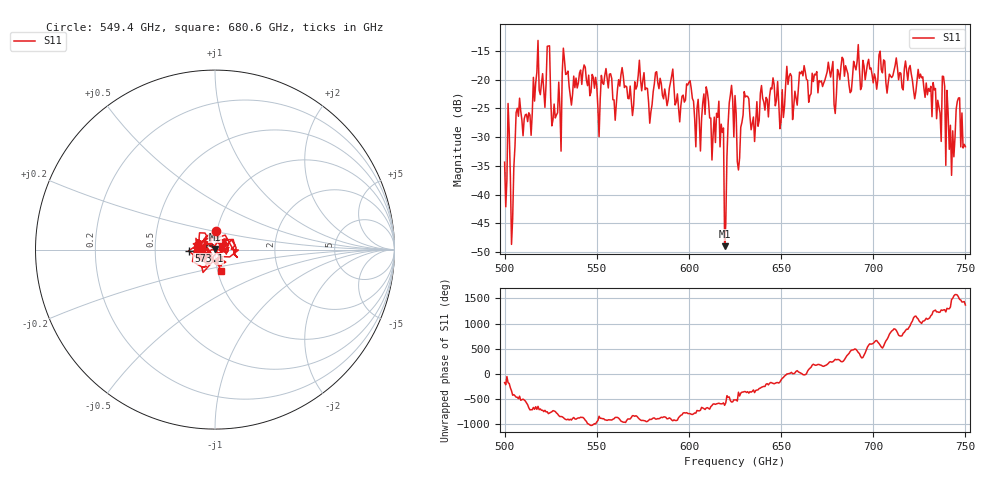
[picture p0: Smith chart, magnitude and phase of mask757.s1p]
!Created with skrf (http://scikit-rf.org).
# GHz S MA R 50.0
!freq magS11 angS11
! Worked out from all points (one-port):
!   401 points, 500 GHz to 750 GHz, reference 50 ohm
!   lowest |S11| = -49.0 dB at 619.4 GHz (marker M1), VSWR 1.01, Z = 50 + j0.353 ohm
!   |S11| at or under -10 dB: start of sweep to end of sweep
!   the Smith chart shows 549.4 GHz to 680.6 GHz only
!   S11 on the Smith chart (normalised r, x): 549.4 GHz: 0.99, +0.21; 573.1 GHz: 0.74, -0.01; 680.6 GHz: 1.04, -0.25
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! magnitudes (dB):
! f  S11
! 500 GHz  -34.4
! 504.4 GHz  -44.2
! 507.5 GHz  -26.4
! 513.8 GHz  -26.2
! 516.9 GHz  -20.6
! 523.8 GHz  -14.2
! 526.9 GHz  -24.3
! 531.2 GHz  -19.0
! 549.4 GHz  -19.6
! 562.5 GHz  -21.1
! 573.1 GHz  -16.6
! 593.8 GHz  -22.5
! 609.4 GHz  -21.3
! 617.5 GHz  -27.8
! 619.4 GHz  -49.0
! 622.5 GHz  -22.6
! 625 GHz  -22.8
! 627.5 GHz  -33.6
! 631.2 GHz  -22.9
! 635 GHz  -26.5
! 656.2 GHz  -27.0
! 680.6 GHz  -18.2
! 687.5 GHz  -22.3
! 718.8 GHz  -20.1
! 738.8 GHz  -21.1
! 742.5 GHz  -36.7
! 746.9 GHz  -23.2
! 750 GHz  -31.7
